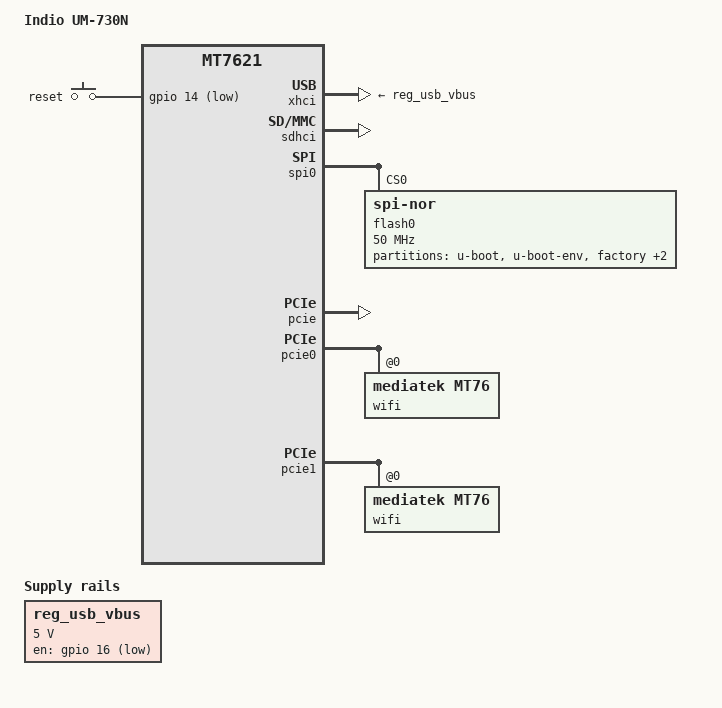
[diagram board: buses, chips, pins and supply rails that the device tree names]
// SPDX-License-Identifier: GPL-2.0-or-later OR MIT
/*
 * Copyright (c) 2026, Shubham Vishwakarma <shubhamvis98@fossfrog.in>
 */

#include "mt7621.dtsi"

#include <dt-bindings/gpio/gpio.h>
#include <dt-bindings/input/input.h>
#include <dt-bindings/leds/common.h>

/ {
	compatible = "indio,um-730n", "mediatek,mt7621-soc";
	model = "Indio UM-730N";

	chosen {
		bootargs = "console=ttyS0,57600";
	};

	keys {
		compatible = "gpio-keys";

		reset {
			label = "reset";
			gpios = <&gpio 14 GPIO_ACTIVE_LOW>;
			linux,code = <KEY_RESTART>;
		};
	};

	reg_usb_vbus: regulator-usb {
		compatible = "regulator-fixed";
		regulator-name = "usb_vbus";
		regulator-min-microvolt = <5000000>;
		regulator-max-microvolt = <5000000>;
		gpios = <&gpio 16 GPIO_ACTIVE_LOW>;
		regulator-boot-on;
		regulator-always-on;
	};
};

&xhci {
	vbus-supply = <&reg_usb_vbus>;
};

&sdhci {
	status = "okay";
};

&spi0 {
	status = "okay";

	flash0: flash@0 {
		compatible = "jedec,spi-nor";
		reg = <0>;
		spi-max-frequency = <50000000>;

		partitions {
			compatible = "fixed-partitions";
			#address-cells = <1>;
			#size-cells = <1>;

			partition@0 {
				label = "u-boot";
				reg = <0x0 0x30000>;
				read-only;
			};

			partition@30000 {
				label = "u-boot-env";
				reg = <0x30000 0x10000>;
				read-only;
			};

			partition@40000 {
				label = "factory";
				reg = <0x40000 0x10000>;
				read-only;

				nvmem-layout {
					compatible = "fixed-layout";
					#address-cells = <1>;
					#size-cells = <1>;

					macaddr_factory_4: macaddr@4 {
						compatible = "mac-base";
						#nvmem-cell-cells = <1>;
						reg = <0x4 0x6>;
					};

					eeprom_factory_0: eeprom@0 {
						reg = <0x0 0x200>;
					};

					eeprom_factory_8000: eeprom@8000 {
						reg = <0x8000 0x200>;
					};
				};
			};

			partition@50000 {
				compatible = "denx,uimage";
				label = "firmware";
				reg = <0x50000 0xdb0000>;
			};

			partition@e00000 {
				label = "modem_config";
				reg = <0xe00000 0x200000>;
			};
		};
	};
};

&pcie {
	status = "okay";
};

&pcie0 {
	wifi@0,0 {
		compatible = "mediatek,mt76";
		reg = <0x0000 0 0 0 0>;
		nvmem-cells = <&eeprom_factory_0>;
		nvmem-cell-names = "eeprom";
	};
};

&pcie1 {
	wifi@0,0 {
		compatible = "mediatek,mt76";
		reg = <0x0000 0 0 0 0>;
		nvmem-cells = <&eeprom_factory_8000>;
		nvmem-cell-names = "eeprom";
		ieee80211-freq-limit = <5000000 6000000>;
	};
};

&switch0 {
	ports {
		port@0 {
			status = "okay";
			label = "lan";
			nvmem-cells = <&macaddr_factory_4 2>;
			nvmem-cell-names = "mac-address";
		};

		port@4 {
			status = "okay";
			label = "wan";
			nvmem-cells = <&macaddr_factory_4 1>;
			nvmem-cell-names = "mac-address";
		};
	};
};

&ethphy0 {
	/delete-property/ interrupts;
};

&ethphy4 {
	/delete-property/ interrupts;
};

&state_default {
	gpio {
		groups = "wdt", "uart2", "jtag";
		function = "gpio";
	};
};
